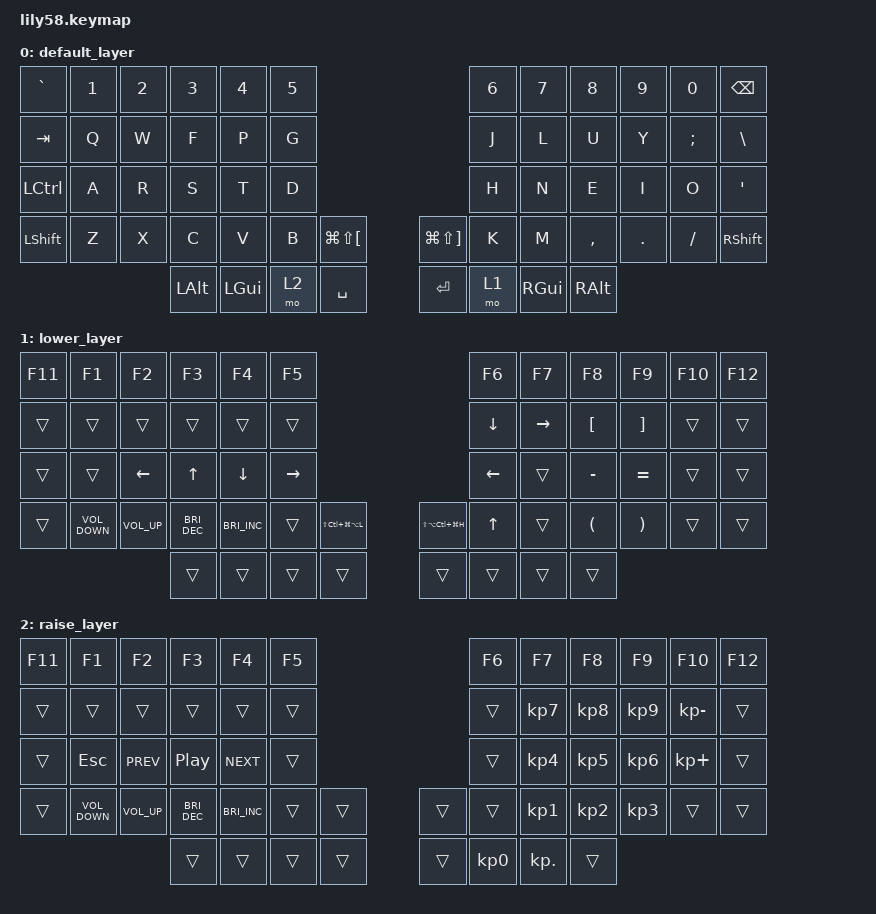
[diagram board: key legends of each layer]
/*
 * Copyright (c) 2020 The ZMK Contributors
 *
 * SPDX-License-Identifier: MIT
 */

#include <behaviors.dtsi>
#include <dt-bindings/zmk/keys.h>

/ {
    combos {
        compatible = "zmk,combos";

        escape {
            bindings = <&kp ESCAPE>;
            key-positions = <13 16>;
        };

        Caps_lock {
            bindings = <&kp CAPS>;
            key-positions = <42 43>;
        };
    };

    keymap {
        compatible = "zmk,keymap";

        default_layer {
            // ------------------------------------------------------------------------------------------------------------
            // |  ESC  |  1  |  2  |  3   |  4   |  5   |                   |  6   |  7    |  8    |  9   |   0   |   `   |
            // |  TAB  |  Q  |  W  |  E   |  R   |  T   |                   |  Y   |  U    |  I    |  O   |   P   |   -   |
            // |  CTRL |  A  |  S  |  D   |  F   |  G   |                   |  H   |  J    |  K    |  L   |   ;   |   '   |
            // | SHIFT |  Z  |  X  |  C   |  V   |  B   |   "["  |  |  "]"  |  N   |  M    |  ,    |  .   |   /   | SHIFT |
            //                     | ALT  | GUI  | LOWER|  SPACE |  | ENTER | RAISE| BSPC  | GUI   |

            bindings = <
&kp GRAVE  &kp N1  &kp N2  &kp N3        &kp N4        &kp N5                                                         &kp N6  &kp N7         &kp N8         &kp N9   &kp N0         &kp BACKSPACE
&kp TAB    &kp Q   &kp W   &kp F         &kp P         &kp G                                                          &kp J   &kp L          &kp U          &kp Y    &kp SEMICOLON  &kp BACKSLASH
&kp LCTRL  &kp A   &kp R   &kp S         &kp T         &kp D                                                          &kp H   &kp N          &kp E          &kp I    &kp O          &kp SINGLE_QUOTE
&kp LSHFT  &kp Z   &kp X   &kp C         &kp V         &kp B   &kp LG(LS(LEFT_BRACKET))    &kp LG(LS(RIGHT_BRACKET))  &kp K   &kp M          &kp COMMA      &kp DOT  &kp FSLH       &kp RSHFT
                           &kp LEFT_ALT  &kp LEFT_GUI  &mo 2   &kp SPACE                   &kp ENTER                  &mo 1   &kp RIGHT_GUI  &kp RIGHT_ALT
            >;
        };

        lower_layer {
            // ------------------------------------------------------------------------------------------------------------
            // | BTCLR | BT1 | BT2 |  BT3 |  BT4 |  BT5 |                   |      |       |       |      |       |       |
            // |  F1   |  F2 |  F3 |  F4  |  F5  |  F6  |                   |  F7  |  F8   |  F9   |  F10 |  F11  |  F12  |
            // |   `   |  !  |  @  |  #   |  $   |  %   |                   |  ^   |  &    |  *    |  (   |   )   |   ~   |
            // |       |     |     |      |      |      |        |  |       |      |  _    |  +    |  {   |   }   |  "|"  |
            //                     |      |      |      |        |  |       |      |       |       |

            bindings = <
&kp F11  &kp F1             &kp F2           &kp F3                &kp F4                &kp F5                                                     &kp F6        &kp F7     &kp F8                &kp F9                 &kp F10  &kp F12
&trans   &trans             &trans           &trans                &trans                &trans                                                     &kp DOWN      &kp RIGHT  &kp LEFT_BRACKET      &kp RIGHT_BRACKET      &trans   &trans
&trans   &trans             &kp LEFT         &kp UP_ARROW          &kp DOWN              &kp RIGHT                                                  &kp LEFT      &trans     &kp MINUS             &kp EQUAL              &trans   &trans
&trans   &kp C_VOLUME_DOWN  &kp C_VOLUME_UP  &kp C_BRIGHTNESS_DEC  &kp C_BRIGHTNESS_INC  &trans     &kp LS(LC(LG(LA(L))))    &kp LS(LA(LC(LG(H))))  &kp UP_ARROW  &trans     &kp LEFT_PARENTHESIS  &kp RIGHT_PARENTHESIS  &trans   &trans
                                             &trans                &trans                &trans     &trans                   &trans                 &trans        &trans     &trans
            >;
        };

        raise_layer {
            // ------------------------------------------------------------------------------------------------------------
            // |       |     |     |      |      |      |                   |      |       |       |      |       |       |
            // |   `   |  1  |  2  |  3   |  4   |  5   |                   |  6   |   7   |   8   |  9   |   0   |       |
            // |   F1  |  F2 |  F3 |  F4  |  F5  |  F6  |                   |      |   <-  |   v   |  ^   |  ->   |       |
            // |   F7  |  F8 |  F9 |  F10 |  F11 |  F12 |        |  |       |  +   |   -   |   =   |  [   |   ]   |   \   |
            //                     |      |      |      |        |  |       |      |       |       |

            bindings = <
&kp F11  &kp F1             &kp F2           &kp F3                &kp F4                &kp F5                    &kp F6           &kp F7           &kp F8           &kp F9           &kp F10       &kp F12
&trans   &trans             &trans           &trans                &trans                &trans                    &trans           &kp KP_NUMBER_7  &kp KP_NUMBER_8  &kp KP_NUMBER_9  &kp KP_MINUS  &trans
&trans   &kp ESC            &kp C_PREV       &kp C_PP              &kp C_NEXT            &trans                    &trans           &kp KP_NUMBER_4  &kp KP_NUMBER_5  &kp KP_NUMBER_6  &kp KP_PLUS   &trans
&trans   &kp C_VOLUME_DOWN  &kp C_VOLUME_UP  &kp C_BRIGHTNESS_DEC  &kp C_BRIGHTNESS_INC  &trans  &trans    &trans  &trans           &kp KP_NUMBER_1  &kp KP_NUMBER_2  &kp KP_NUMBER_3  &trans        &trans
                                             &trans                &trans                &trans  &trans    &trans  &kp KP_NUMBER_0  &kp KP_DOT       &trans
            >;
        };
    };
};
